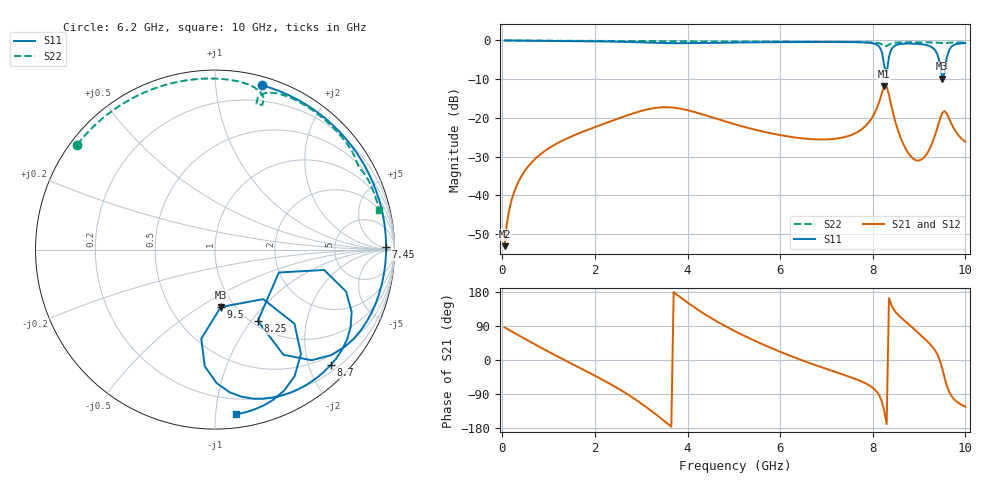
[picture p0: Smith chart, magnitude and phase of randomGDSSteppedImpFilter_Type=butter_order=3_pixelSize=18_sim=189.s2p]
! freq	dB(S11)	phase(S11)	dB(S12)	phase(S12)
!  dB(S21)	phase(S21)	dB(S22)	phase(S22)
!S-par simulation data
#  GHz  S  DB  R 50
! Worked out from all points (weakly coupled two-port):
!   200 points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, 50 MHz to 10 GHz, reference 50 ohm
!   highest |S21| = -11.78 dB at 8.25 GHz (marker M1); lowest = -53.1 dB at 50 MHz (marker M2)
!   lowest |S11| = -9.9 dB at 9.5 GHz (marker M3), VSWR 1.95, Z = 43.2 - j30.8 ohm
!   |S11| at or under -10 dB: nowhere
!   |S22| runs from -1.5 to 0.0 dB; largest |S21 - S12| = 0
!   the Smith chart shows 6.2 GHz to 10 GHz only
!   S11 on the Smith chart (normalised r, x): 6.2 GHz: 0.07, +1.33; 7.45 GHz: 37, +13; 8.25 GHz: 1.07, -1.08; 8.7 GHz: 0.32, -2.38; 9.5 GHz: 0.86, -0.62; 10 GHz: 0.09, -1.14
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0.05  -0.00 -4.9  -53.08 86.1  -53.08 86.1  -0.00 -2.1
0.3  -0.05 -29.2  -37.74 68.9  -37.74 68.9  -0.02 -12.8
0.9  -0.11 -85.4  -28.67 28.3  -28.67 28.3  -0.05 -37.8
1.75  -0.20 -160.5  -23.50 -25.6  -23.50 -25.6  -0.11 -71.4
2.25  -0.27 153.2  -21.25 -57.8  -21.25 -57.8  -0.14 -90.0
2.75  -0.40 98.6  -19.12 -94.0  -19.12 -94.0  -0.18 -107.7
3.05  -0.51 59.0  -18.03 -119.1  -18.03 -119.1  -0.21 -117.9
3.4  -0.65 5.9  -17.29 -151.7  -17.29 -151.7  -0.24 -129.3
4.05  -0.69 -93.7  -18.14 147.2  -18.14 147.2  -0.26 -149.9
4.55  -0.60 -154.0  -19.92 107.7  -19.92 107.7  -0.25 -165.5
5.05  -0.53 158.6  -21.73 74.4  -21.73 74.4  -0.26 179.0
6.2  -0.42 74.0  -24.83 11.9  -24.83 11.9  -0.31 142.7
6.7  -0.40 43.1  -25.48 -10.8  -25.48 -10.8  -0.34 126.4
7.45  -0.41 1.0  -24.73 -42.3  -24.73 -42.3  -0.38 100.9
8  -0.73 -32.6  -19.64 -73.3  -19.64 -73.3  -0.51 80.6
8.25  -6.68 -59.0  -11.78 -136.1  -11.78 -136.1  -1.43 71.8
8.35  -4.17 -10.6  -14.06 163.3  -14.06 163.3  -1.07 74.3
8.7  -0.81 -45.0  -27.70 102.3  -27.70 102.3  -0.47 59.5
9.25  -1.58 -79.6  -27.40 40.1  -27.40 40.1  -0.51 39.1
9.5  -9.86 -84.2  -18.72 -22.4  -18.72 -22.4  -0.68 30.6
9.65  -2.46 -50.5  -20.21 -84.2  -20.21 -84.2  -0.58 26.2
10  -0.68 -82.6  -26.13 -123.1  -26.13 -123.1  -0.54 13.7
